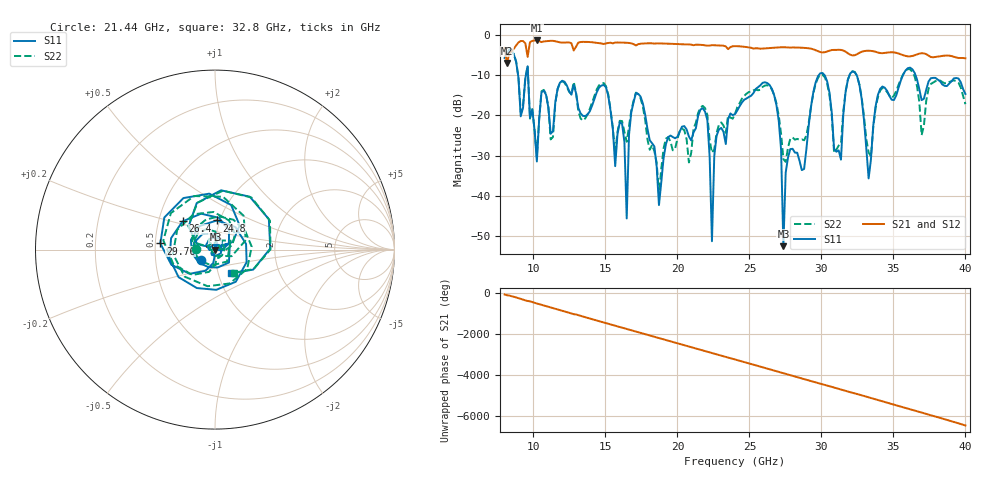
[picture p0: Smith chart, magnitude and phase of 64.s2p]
!Agilent Technologies,N5227A,US51270464,A.10.00.00
!Agilent N5227A: A.10.00.00
!Date: Thursday, July 23, 2020 14:57:05
!Correction: S11(Full 2 Port(1,2))
!S21(Full 2 Port(1,2))
!S12(Full 2 Port(1,2))
!S22(Full 2 Port(1,2))
!S2P File: Measurements: S11, S21, S12, S22:
# Hz S  RI  R 50
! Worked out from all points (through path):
!   201 points, 8 GHz to 40 GHz, reference 50 ohm
!   highest |S21| = -1.38 dB at 10.24 GHz (marker M1); lowest = -7.0 dB at 8.16 GHz (marker M2)
!   lowest |S11| = -52.4 dB at 27.36 GHz (marker M3), VSWR 1.00, Z = 50.2 + j0.0102 ohm
!   |S11| at or under -10 dB: 9.628 GHz to 29.82 GHz (20.19 GHz wide, 102 % of centre); 32.44 GHz to 35.66 GHz (3.22 GHz wide, 9.46 % of centre); 36.54 GHz to end of sweep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
!   |S22| runs from -39.5 to -3.4 dB; largest |S21 - S12| = 0.0005
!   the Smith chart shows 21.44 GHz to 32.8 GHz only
!   S11 on the Smith chart (normalised r, x): 21.44 GHz: 0.85, -0.10; 24.8 GHz: 0.97, +0.32; 26.4 GHz: 0.66, +0.22; 29.76 GHz: 0.53, +0.04; 32.8 GHz: 1.15, -0.31
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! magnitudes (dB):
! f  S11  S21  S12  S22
! 8 GHz  -5.7  -3.2  -3.2  -5.6
! 8.16 GHz  -5.0  -7.0  -7.0  -4.6
! 10.24 GHz  -31.4  -1.4  -1.4  -30.3
! 13.44 GHz  -20.1  -1.7  -1.7  -21.3
! 16.16 GHz  -22.1  -1.9  -1.9  -21.4
! 16.48 GHz  -45.6  -2.0  -2.0  -26.5
! 17.44 GHz  -15.3  -2.2  -2.2  -15.7
! 18.72 GHz  -42.2  -2.1  -2.1  -39.5
! 21.44 GHz  -20.1  -2.4  -2.4  -19.3
! 22.08 GHz  -21.1  -2.7  -2.7  -19.9
! 22.4 GHz  -51.2  -2.5  -2.5  -29.2
! 22.72 GHz  -25.1  -2.6  -2.6  -24.3
! 24 GHz  -19.7  -2.8  -2.8  -19.6
! 24.8 GHz  -15.8  -3.0  -3.0  -14.6
! 26.4 GHz  -12.4  -3.3  -3.3  -12.8
! 27.36 GHz  -52.4  -3.1  -3.1  -30.8
! 29.44 GHz  -14.2  -3.6  -3.6  -14.5
! 29.76 GHz  -10.3  -4.1  -4.1  -10.7
! 32.8 GHz  -15.9  -4.2  -4.2  -15.6
! 33.28 GHz  -35.6  -3.9  -3.9  -29.2
! 34.72 GHz  -15.1  -4.3  -4.3  -15.0
! 40 GHz  -14.7  -5.8  -5.8  -17.2
